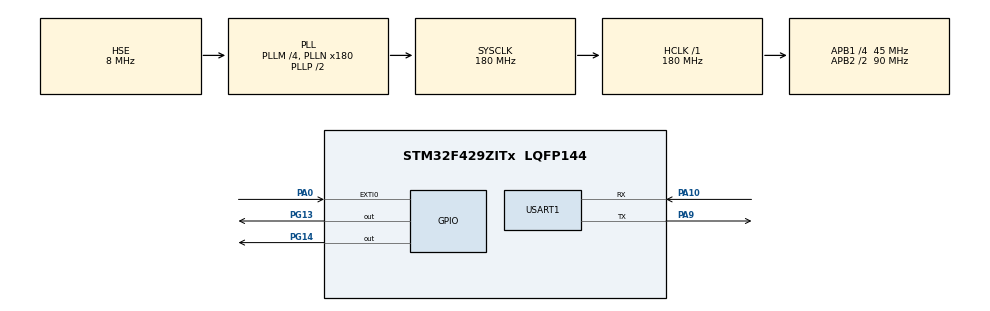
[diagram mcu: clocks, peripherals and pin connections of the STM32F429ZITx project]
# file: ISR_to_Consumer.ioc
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FREERTOS.Tasks01=defaultTask,0,128,StartDefaultTask,Default,NULL,Dynamic,NULL,NULL
Mcu.Family=STM32F4
Mcu.Name=STM32F429ZITx
Mcu.Package=LQFP144
NVIC.EXTI0_IRQn=true\:7\:0\:true\:false\:true\:false\:true\:true\:true
NVIC.PriorityGroup=NVIC_PRIORITYGROUP_4
NVIC.TIM6_DAC_IRQn=true\:15\:0\:false\:false\:true\:false\:false\:true\:true
NVIC.TimeBase=TIM6_DAC_IRQn
NVIC.TimeBaseIP=TIM6
PA0/WKUP.Signal=GPXTI0
PA10.Mode=Asynchronous
PA10.Signal=USART1_RX
PA9.Mode=Asynchronous
PA9.Signal=USART1_TX
PG13.Signal=GPIO_Output
PG14.Signal=GPIO_Output
PH0/OSC_IN.Mode=HSE-External-Oscillator
PH0/OSC_IN.Signal=RCC_OSC_IN
PH1/OSC_OUT.Mode=HSE-External-Oscillator
PH1/OSC_OUT.Signal=RCC_OSC_OUT
ProjectManager.HeapSize=0x200
ProjectManager.StackSize=0x400
ProjectManager.TargetToolchain=STM32CubeIDE
RCC.48MHZClocksFreq_Value=51428571.428571425
RCC.AHBFreq_Value=180000000
RCC.APB1CLKDivider=RCC_HCLK_DIV4
RCC.APB1Freq_Value=45000000
RCC.APB1TimFreq_Value=90000000
RCC.APB2CLKDivider=RCC_HCLK_DIV2
RCC.APB2Freq_Value=90000000
RCC.APB2TimFreq_Value=180000000
RCC.CortexFreq_Value=180000000
RCC.HCLKFreq_Value=180000000
RCC.HSE_VALUE=8000000
RCC.HSI_VALUE=16000000
RCC.LSE_VALUE=32768
RCC.PLLM=4
RCC.PLLN=180
RCC.PLLQ=7
RCC.PLLSourceVirtual=RCC_PLLSOURCE_HSE
RCC.SYSCLKFreq_VALUE=180000000
RCC.SYSCLKSource=RCC_SYSCLKSOURCE_PLLCLK
RCC.VCOOutputFreq_Value=360000000
USART1.VirtualMode=VM_ASYNC
VP_FREERTOS_VS_CMSIS_V1.Mode=CMSIS_V1
VP_SYS_VS_tim6.Mode=TIM6
board=STM32F429I-DISC1

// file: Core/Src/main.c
/* USER CODE BEGIN Header */
/**
  ******************************************************************************
  * @file           : main.c
  * @brief          : Main program body
  ******************************************************************************
  * @attention
  *
  * Copyright (c) 2025 STMicroelectronics.
  * All rights reserved.
  *
  * This software is licensed under terms that can be found in the LICENSE file
  * in the root directory of this software component.
  * If no LICENSE file comes with this software, it is provided AS-IS.
  *
  ******************************************************************************
  */
/* USER CODE END Header */
#include "main.h"

#include "FreeRTOS.h"
#include "task.h"
#include "message_buffer.h"

#include "string.h"
#include "stdio.h"

UART_HandleTypeDef huart1;

void SystemClock_Config(void);
static void MX_GPIO_Init(void);
static void MX_USART1_UART_Init(void);

/* USER CODE BEGIN 0 */

/* ***************************** Create Message Buffer handle *********************** */
MessageBufferHandle_t MessageBuffer_Handle;

/* ***************************** Task Handles *************************** */
TaskHandle_t Consumer_Handle;

/* ***************************** Task Functions *************************** */
void Consumer(void *pvParameters)
{
	uint8_t rx[100];
	for(;;) {
		size_t received = xMessageBufferReceive(MessageBuffer_Handle, rx, sizeof(rx), portMAX_DELAY);
		HAL_GPIO_TogglePin(GPIOG, GPIO_PIN_13); // consume marker

		char* msg = (char*)pvPortMalloc(100 * sizeof(char));
		sprintf(msg, "Consumer recv %.*s\n", (int)received, rx);
		HAL_UART_Transmit(&huart1, (uint8_t *)msg, strlen(msg), HAL_MAX_DELAY);
		vPortFree(msg); // Free the allocated memory
  }
}

void HAL_GPIO_EXTI_Callback(uint16_t GPIO_Pin)
{
	if (GPIO_Pin == GPIO_PIN_0)
	{
		const char alert[] = "ALERT";
		BaseType_t xHigherPriorityTaskWoken = pdFALSE;

		xMessageBufferSendFromISR(MessageBuffer_Handle, (void *)alert, sizeof(alert), &xHigherPriorityTaskWoken);

		HAL_GPIO_TogglePin(GPIOG, GPIO_PIN_14);

		portYIELD_FROM_ISR(xHigherPriorityTaskWoken);

	}
}

/* USER CODE END 0 */

int main(void)
{

  /* MCU Configuration--------------------------------------------------------*/

  /* Reset of all peripherals, Initializes the Flash interface and the Systick. */
  HAL_Init();

  /* Configure the system clock */
  SystemClock_Config();

  /* Initialize all configured peripherals */
  MX_GPIO_Init();
  MX_USART1_UART_Init();
  /* USER CODE BEGIN 2 */

  /* ********************** Create Message buffer ********************* */
  MessageBuffer_Handle = xMessageBufferCreate(200);
  if (MessageBuffer_Handle == NULL) {
	 HAL_UART_Transmit(&huart1, (uint8_t *)"Message Buffer Creation Failed\n", 32, HAL_MAX_DELAY);
  }
  else{
	  HAL_UART_Transmit(&huart1, (uint8_t *)"Message Buffer Created\n", 23, HAL_MAX_DELAY);
  }

  /* ********************** Create Task ******************************** */
  xTaskCreate(Consumer, "Consumer", 128, NULL, 1, &Consumer_Handle);

  vTaskStartScheduler();

  /* USER CODE END 2 */

  /* We should never get here as control is now taken by the scheduler */

  /* Infinite loop */
  while (1)
  {

  }
}

void SystemClock_Config(void)
{
  RCC_OscInitTypeDef RCC_OscInitStruct = {0};
  RCC_ClkInitTypeDef RCC_ClkInitStruct = {0};

  /** Configure the main internal regulator output voltage
  */
  __HAL_RCC_PWR_CLK_ENABLE();
  __HAL_PWR_VOLTAGESCALING_CONFIG(PWR_REGULATOR_VOLTAGE_SCALE1);

  /** Initializes the RCC Oscillators according to the specified parameters
  * in the RCC_OscInitTypeDef structure.
  */
  RCC_OscInitStruct.OscillatorType = RCC_OSCILLATORTYPE_HSE;
  RCC_OscInitStruct.HSEState = RCC_HSE_ON;
  RCC_OscInitStruct.PLL.PLLState = RCC_PLL_ON;
  RCC_OscInitStruct.PLL.PLLSource = RCC_PLLSOURCE_HSE;
  RCC_OscInitStruct.PLL.PLLM = 4;
  RCC_OscInitStruct.PLL.PLLN = 180;
  RCC_OscInitStruct.PLL.PLLP = RCC_PLLP_DIV2;
  RCC_OscInitStruct.PLL.PLLQ = 7;
  if (HAL_RCC_OscConfig(&RCC_OscInitStruct) != HAL_OK)
  {
    Error_Handler();
  }

  /** Activate the Over-Drive mode
  */
  if (HAL_PWREx_EnableOverDrive() != HAL_OK)
  {
    Error_Handler();
  }

  /** Initializes the CPU, AHB and APB buses clocks
  */
  RCC_ClkInitStruct.ClockType = RCC_CLOCKTYPE_HCLK|RCC_CLOCKTYPE_SYSCLK
                              |RCC_CLOCKTYPE_PCLK1|RCC_CLOCKTYPE_PCLK2;
  RCC_ClkInitStruct.SYSCLKSource = RCC_SYSCLKSOURCE_PLLCLK;
  RCC_ClkInitStruct.AHBCLKDivider = RCC_SYSCLK_DIV1;
  RCC_ClkInitStruct.APB1CLKDivider = RCC_HCLK_DIV4;
  RCC_ClkInitStruct.APB2CLKDivider = RCC_HCLK_DIV2;

  if (HAL_RCC_ClockConfig(&RCC_ClkInitStruct, FLASH_LATENCY_5) != HAL_OK)
  {
    Error_Handler();
  }
}

static void MX_USART1_UART_Init(void)
{

  huart1.Instance = USART1;
  huart1.Init.BaudRate = 115200;
  huart1.Init.WordLength = UART_WORDLENGTH_8B;
  huart1.Init.StopBits = UART_STOPBITS_1;
  huart1.Init.Parity = UART_PARITY_NONE;
  huart1.Init.Mode = UART_MODE_TX_RX;
  huart1.Init.HwFlowCtl = UART_HWCONTROL_NONE;
  huart1.Init.OverSampling = UART_OVERSAMPLING_16;
  if (HAL_UART_Init(&huart1) != HAL_OK)
  {
    Error_Handler();
  }

}

static void MX_GPIO_Init(void)
{
  GPIO_InitTypeDef GPIO_InitStruct = {0};

  /* GPIO Ports Clock Enable */
  __HAL_RCC_GPIOH_CLK_ENABLE();
  __HAL_RCC_GPIOA_CLK_ENABLE();
  __HAL_RCC_GPIOG_CLK_ENABLE();

  /*Configure GPIO pin Output Level */
  HAL_GPIO_WritePin(GPIOG, GPIO_PIN_13|GPIO_PIN_14, GPIO_PIN_RESET);

  /*Configure GPIO pin : PA0 */
  GPIO_InitStruct.Pin = GPIO_PIN_0;
  GPIO_InitStruct.Mode = GPIO_MODE_IT_RISING;
  GPIO_InitStruct.Pull = GPIO_NOPULL;
  HAL_GPIO_Init(GPIOA, &GPIO_InitStruct);

  /*Configure GPIO pins : PG13 PG14 */
  GPIO_InitStruct.Pin = GPIO_PIN_13|GPIO_PIN_14;
  GPIO_InitStruct.Mode = GPIO_MODE_OUTPUT_PP;
  GPIO_InitStruct.Pull = GPIO_NOPULL;
  GPIO_InitStruct.Speed = GPIO_SPEED_FREQ_LOW;
  HAL_GPIO_Init(GPIOG, &GPIO_InitStruct);

  /* EXTI interrupt init*/
  HAL_NVIC_SetPriority(EXTI0_IRQn, 7, 0);
  HAL_NVIC_EnableIRQ(EXTI0_IRQn);

}

void HAL_TIM_PeriodElapsedCallback(TIM_HandleTypeDef *htim)
{
  if (htim->Instance == TIM6)
  {
    HAL_IncTick();
  }
}

void Error_Handler(void)
{
  __disable_irq();
  while (1)
  {
  }
}
